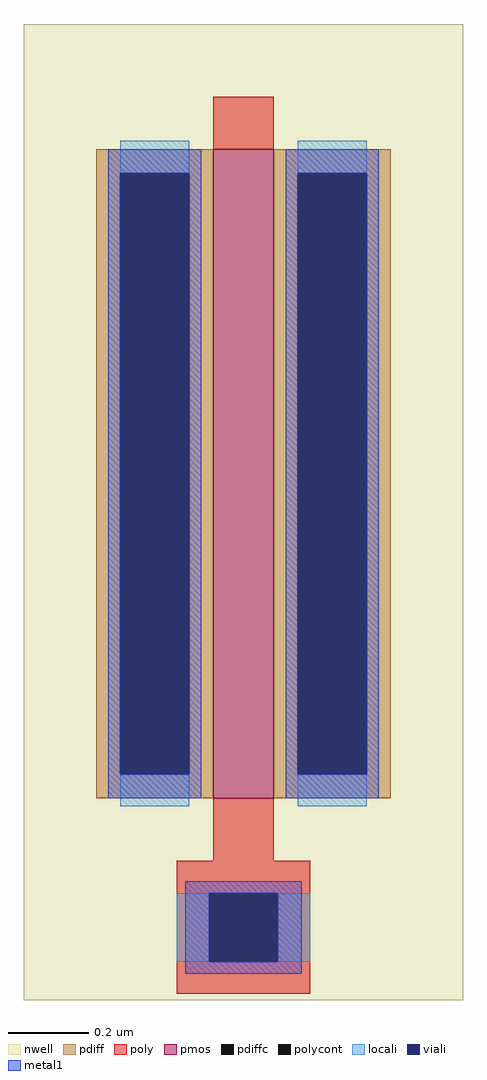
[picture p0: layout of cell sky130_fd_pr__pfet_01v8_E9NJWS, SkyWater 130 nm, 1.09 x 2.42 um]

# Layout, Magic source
magic
tech sky130A
magscale 1 2
<< nwell >>
rect -109 -225 109 259
<< pmos >>
rect -15 -125 15 197
<< pdiff >>
rect -73 185 -15 197
rect -73 -113 -61 185
rect -27 -113 -15 185
rect -73 -125 -15 -113
rect 15 185 73 197
rect 15 -113 27 185
rect 61 -113 73 185
rect 15 -125 73 -113
<< pdiffc >>
rect -61 -113 -27 185
rect 27 -113 61 185
<< poly >>
rect -15 197 15 223
rect -15 -156 15 -125
rect -33 -172 33 -156
rect -33 -206 -17 -172
rect 17 -206 33 -172
rect -33 -222 33 -206
<< polycont >>
rect -17 -206 17 -172
<< locali >>
rect -61 185 -27 201
rect -61 -129 -27 -113
rect 27 185 61 201
rect 27 -129 61 -113
rect -33 -206 -17 -172
rect 17 -206 33 -172
<< viali >>
rect -61 -113 -27 185
rect 27 -113 61 185
rect -17 -206 17 -172
<< metal1 >>
rect -67 185 -21 197
rect -67 -113 -61 185
rect -27 -113 -21 185
rect -67 -125 -21 -113
rect 21 185 67 197
rect 21 -113 27 185
rect 61 -113 67 185
rect 21 -125 67 -113
rect -29 -172 29 -166
rect -29 -206 -17 -172
rect 17 -206 29 -172
rect -29 -212 29 -206
<< properties >>
string gencell sky130_fd_pr__pfet_01v8
string library sky130
string parameters w 1.605 l 0.15 m 1 nf 1 diffcov 100 polycov 100 guard 0 glc 1 grc 1 gtc 1 gbc 1 tbcov 100 rlcov 100 topc 0 botc 1 poverlap 0 doverlap 1 lmin 0.15 wmin 0.42 compatible {sky130_fd_pr__pfet_01v8  sky130_fd_pr__pfet_01v8_lvt sky130_fd_pr__pfet_01v8_hvt  sky130_fd_pr__pfet_g5v0d10v5} full_metal 0 viasrc 100 viadrn 100 viagate 100 viagb 0 viagr 0 viagl 0 viagt 0
<< end >>
